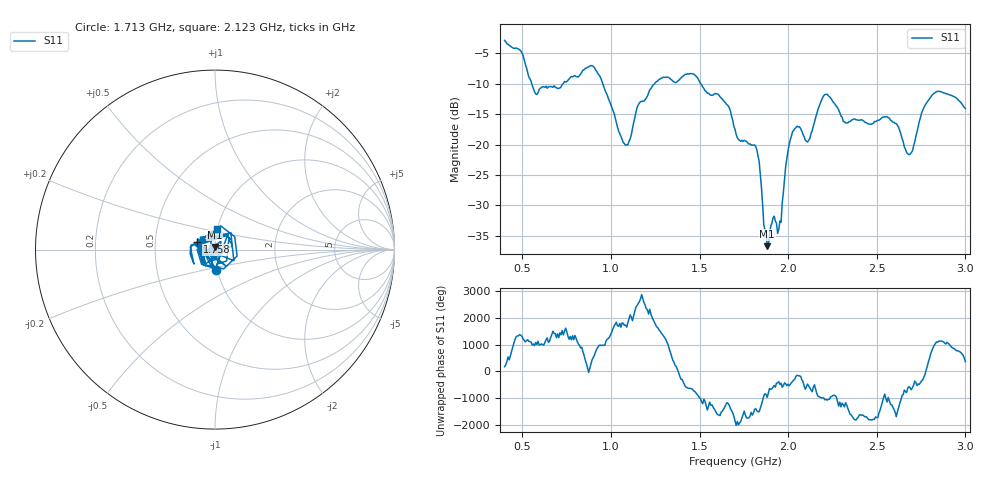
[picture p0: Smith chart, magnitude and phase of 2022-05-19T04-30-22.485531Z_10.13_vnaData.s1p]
!Created with skrf (http://scikit-rf.org).
# Hz S RI R 50.0
!freq ReS11 ImS11
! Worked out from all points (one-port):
!   401 points, 400 MHz to 3 GHz, reference 50 ohm
!   lowest |S11| = -36.7 dB at 1.882 GHz (marker M1), VSWR 1.03, Z = 49.7 + j1.43 ohm
!   |S11| at or under -10 dB: 553.5 MHz to 729.2 MHz (175.7 MHz wide, 27.4 % of centre); 953.9 MHz to 1.245 GHz (290.9 MHz wide, 26.5 % of centre); 1.507 GHz to end of sweep
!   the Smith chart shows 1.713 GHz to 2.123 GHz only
!   S11 on the Smith chart (normalised r, x): 1.713 GHz: 0.99, -0.23; 1.758 GHz: 0.82, +0.07; 2.123 GHz: 0.99, +0.23
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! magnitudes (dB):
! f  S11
! 400 MHz  -2.9
! 491 MHz  -4.6
! 575.5 MHz  -11.7
! 725 MHz  -10.1
! 900.5 MHz  -7.1
! 1.05 GHz  -18.2
! 1.095 GHz  -20.0
! 1.154 GHz  -13.5
! 1.258 GHz  -9.6
! 1.375 GHz  -9.6
! 1.472 GHz  -8.5
! 1.655 GHz  -13.4
! 1.7 GHz  -17.5
! 1.713 GHz  -18.9
! 1.758 GHz  -19.4
! 1.823 GHz  -20.9
! 1.882 GHz  -36.7
! 1.915 GHz  -32.0
! 1.954 GHz  -32.5
! 1.992 GHz  -22.3
! 2.025 GHz  -17.8
! 2.123 GHz  -19.0
! 2.207 GHz  -11.8
! 2.35 GHz  -16.2
! 2.558 GHz  -15.4
! 2.675 GHz  -21.5
! 2.825 GHz  -11.5
! 3 GHz  -14.1
